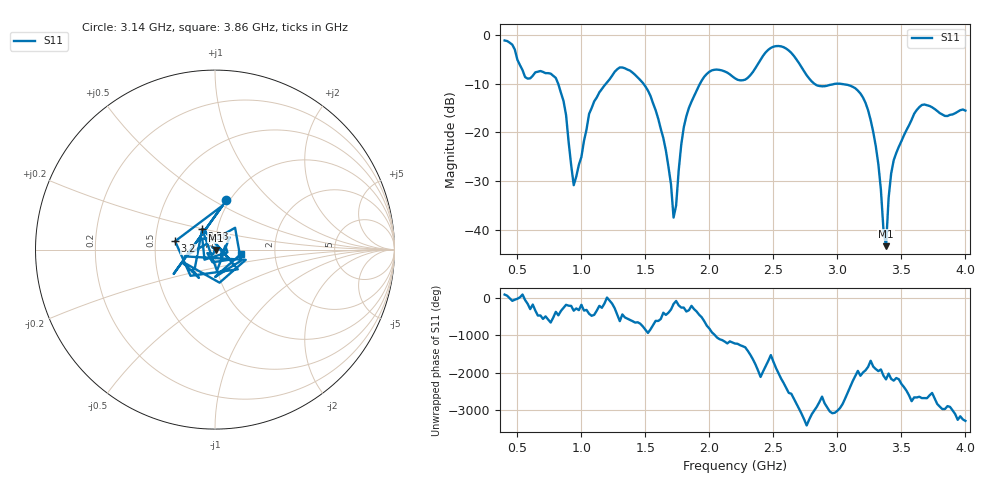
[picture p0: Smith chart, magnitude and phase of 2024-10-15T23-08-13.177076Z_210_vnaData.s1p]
! Created with skrf (http://scikit-rf.org).
# Hz S RI R 50.0
!freq ReS11 ImS11
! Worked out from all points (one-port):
!   181 points, 400 MHz to 4 GHz, reference 50 ohm
!   lowest |S11| = -43.4 dB at 3.38 GHz (marker M1), VSWR 1.01, Z = 50.7 - j0.197 ohm
!   |S11| at or under -10 dB: 817.9 MHz to 1.193 GHz (375.4 MHz wide, 37.3 % of centre); 1.483 GHz to 1.927 GHz (444.2 MHz wide, 26 % of centre); 2.818 GHz to end of sweep
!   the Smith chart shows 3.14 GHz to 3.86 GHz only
!   S11 on the Smith chart (normalised r, x): 3.14 GHz: 0.97, +0.58; 3.2 GHz: 0.63, +0.06; 3.58 GHz: 0.85, +0.20; 3.86 GHz: 1.34, -0.07
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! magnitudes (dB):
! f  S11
! 400 MHz  -1.2
! 560 MHz  -8.7
! 760 MHz  -8.0
! 860 MHz  -13.6
! 940 MHz  -30.8
! 1.06 GHz  -16.2
! 1.3 GHz  -6.7
! 1.58 GHz  -15.5
! 1.66 GHz  -23.7
! 1.72 GHz  -37.5
! 1.76 GHz  -27.8
! 1.82 GHz  -16.7
! 1.94 GHz  -9.4
! 2.2 GHz  -8.9
! 2.5 GHz  -2.5
! 2.66 GHz  -4.3
! 2.84 GHz  -10.4
! 3.1 GHz  -10.4
! 3.14 GHz  -11.0
! 3.2 GHz  -12.9
! 3.3 GHz  -22.9
! 3.38 GHz  -43.4
! 3.42 GHz  -28.5
! 3.56 GHz  -18.5
! 3.58 GHz  -17.4
! 3.68 GHz  -14.3
! 3.86 GHz  -16.7
! 4 GHz  -15.6
